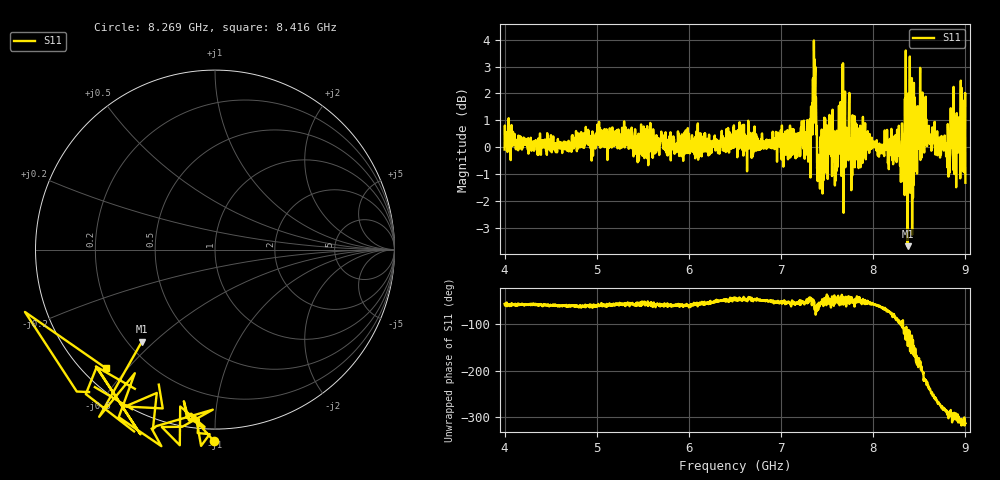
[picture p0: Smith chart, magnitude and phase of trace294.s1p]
! Created with skrf 1.8.0 (http://scikit-rf.org).
# Hz S RI R 50.0
!freq ReS11 ImS11
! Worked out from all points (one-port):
!   1601 points, 4 GHz to 9 GHz, reference 50 ohm
!   lowest |S11| = -3.7 dB at 8.372 GHz (marker M1), VSWR 4.80, Z = 12.7 - j22.8 ohm
!   |S11| at or under -10 dB: nowhere
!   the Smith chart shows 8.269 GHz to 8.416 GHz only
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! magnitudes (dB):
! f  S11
! 4 GHz  -0.1
! 4.625 GHz  -0.2
! 5.25 GHz  -0.1
! 5.875 GHz  -0.1
! 6.5 GHz  0.1
! 7.125 GHz  0.2
! 7.294 GHz  -0.5
! 7.353 GHz  1.3
! 7.369 GHz  2.6
! 7.4 GHz  -0.4
! 7.428 GHz  0.4
! 7.503 GHz  0.2
! 7.591 GHz  -0.4
! 7.65 GHz  1.7
! 7.703 GHz  -0.1
! 7.75 GHz  0.3
! 8.259 GHz  0.6
! 8.316 GHz  0.3
! 8.338 GHz  -0.6
! 8.372 GHz  -3.7
! 8.375 GHz  2.0
! 8.447 GHz  1.9
! 8.459 GHz  -0.9
! 8.544 GHz  1.2
! 8.606 GHz  0.4
! 8.806 GHz  -0.3
! 8.972 GHz  0.6
! 9 GHz  -1.3
